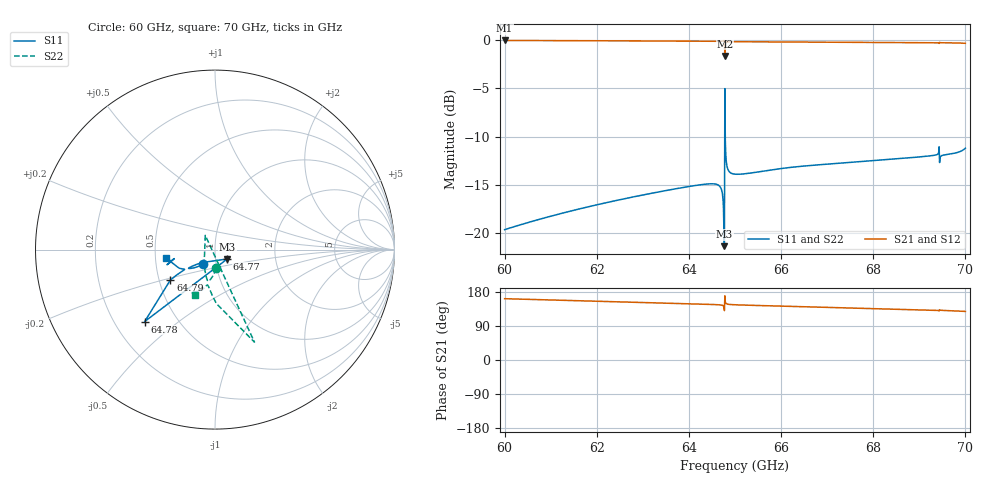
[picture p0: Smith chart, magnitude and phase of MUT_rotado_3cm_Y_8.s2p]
! TOUCHSTONE file generated by CST MICROWAVE STUDIO
! Date and time: Wed Feb 21 09:08:51 2024
! Project name: material_prueba.cst
! Parameters = {Y=1.75}
! Header version: 2018
! Port assignment regex: !\s*Touchstone port\s*([0-9]+)\s*=\s*(CST MWS port|CST DS port)\s*([0-9]+|Zmin|Zmax)\s*\(\"(.*)\"\)(\s*mode\s*([0-9]+))?.*
! Touchstone port assignment:
! Touchstone port 1 = CST MWS port 1 ("")
! Touchstone port 2 = CST MWS port 2 ("")
# GHz S MA R 376.7
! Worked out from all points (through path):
!   1001 points, 60 GHz to 70 GHz, reference 376.7 ohm
!   highest |S21| = -0.05 dB at 60 GHz (marker M1); lowest = -1.6 dB at 64.78 GHz (marker M2)
!   lowest |S11| = -21.3 dB at 64.77 GHz (marker M3), VSWR 1.19, Z = 429 - j45.2 ohm
!   |S11| at or under -10 dB: start of sweep to 64.78 GHz; 64.79 GHz to end of sweep
!   |S22| runs from -20.3 to -5.0 dB; largest |S21 - S12| = 0.011
!   S11 on the Smith chart (normalised r, x): 60 GHz: 0.86, -0.14; 64.77 GHz: 1.14, -0.12; 64.78 GHz: 0.33, -0.38; 64.79 GHz: 0.57, -0.21; 70 GHz: 0.57, -0.06
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60  0.1046 -130.3  0.9946 161.8  0.9943 161.8  0.1048 -86.1
61.67  0.1348 -135.3  0.992 156.1  0.9901 156.2  0.1346 -92.4
63.34  0.1639 -140.8  0.9864 150.7  0.9866 150.7  0.1638 -97.9
64.56  0.1802 -144.8  0.9837 146.3  0.9835 146.3  0.1802 -102.6
64.68  0.1739 -144.8  0.9847 145.3  0.9848 145.3  0.1739 -104.5
64.7  0.1702 -144.7  0.9853 145.0  0.9855 145.0  0.1703 -105.3
64.72  0.1637 -144.4  0.9863 144.5  0.9868 144.5  0.1638 -106.8
64.73  0.1582 -144.0  0.9872 144.1  0.9877 144.0  0.1583 -108.0
64.74  0.1496 -143.3  0.9884 143.4  0.9892 143.4  0.1498 -110.0
64.77  0.08594 -37.4  0.9874 130.4  0.9938 129.9  0.09621 124.3
64.78  0.5606 -134.3  0.8281 169.4  0.8281 169.4  0.5606 -66.9
64.79  0.3014 -145.7  0.9533 153.0  0.9512 153.1  0.3007 -88.5
64.81  0.2368 -146.6  0.9717 148.8  0.9705 148.9  0.2365 -95.8
64.83  0.2205 -146.6  0.9755 147.7  0.9747 147.7  0.2202 -98.1
64.84  0.2163 -146.6  0.9764 147.4  0.9757 147.4  0.216 -98.7
64.87  0.2093 -146.6  0.9779 146.8  0.9774 146.8  0.2091 -99.9
65  0.2025 -146.9  0.9793 145.7  0.9791 145.8  0.2023 -101.7
66.67  0.2249 -152.8  0.9746 140.0  0.9745 140.0  0.2245 -106.6
68.34  0.2414 -159.9  0.9703 134.6  0.9703 134.6  0.2413 -111.0
69.38  0.2554 -164.3  0.9669 131.1  0.9669 131.0  0.2555 -113.6
69.49  0.2527 -165.3  0.9675 131.0  0.9675 131.0  0.2527 -112.7
70  0.2758 -170.3  0.9614 128.1  0.9614 128.1  0.2756 -113.5
